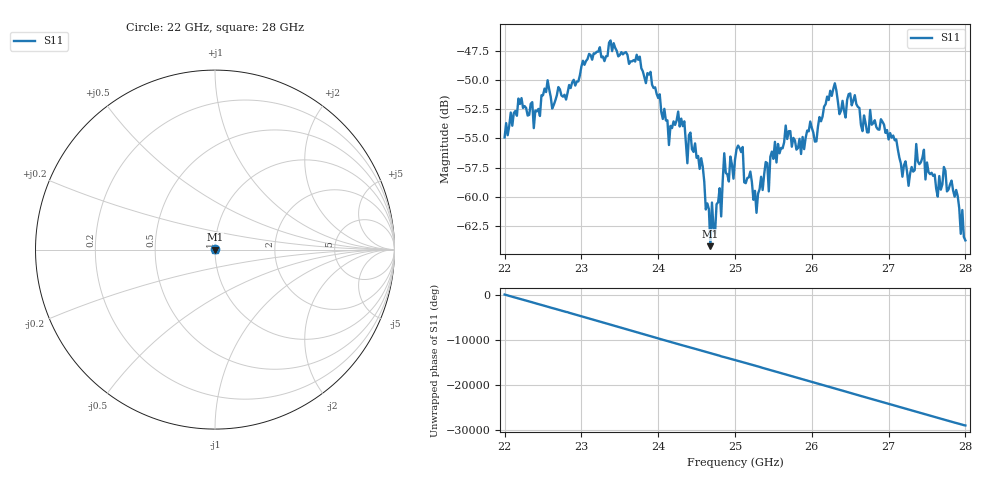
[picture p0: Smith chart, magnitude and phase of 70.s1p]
#  HZ  S  RI  R  50.00
! Rohde & Schwarz ZVA40 4Ports - Version 3.90 - 1145.1110k42 SN: 100403
! Date: 2023-10-04 07:45:16
! Measurement: S12
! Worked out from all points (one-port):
!   301 points, 22 GHz to 28 GHz, reference 50 ohm
!   lowest |S11| = -64.2 dB at 24.68 GHz (marker M1), VSWR 1.00, Z = 50.1 + j0.0292 ohm
!   |S11| at or under -10 dB: start of sweep to end of sweep
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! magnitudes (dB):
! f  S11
! 22 GHz  -54.9
! 22.18 GHz  -51.6
! 22.38 GHz  -54.1
! 22.56 GHz  -50.0
! 22.76 GHz  -51.4
! 23.5 GHz  -47.8
! 23.9 GHz  -49.3
! 24.14 GHz  -55.6
! 24.26 GHz  -52.7
! 24.38 GHz  -57.1
! 24.42 GHz  -54.5
! 24.56 GHz  -56.7
! 24.68 GHz  -64.2
! 24.7 GHz  -60.5
! 24.82 GHz  -61.7
! 24.86 GHz  -56.3
! 25 GHz  -56.8
! 25.1 GHz  -55.7
! 25.12 GHz  -58.8
! 25.28 GHz  -61.4
! 25.52 GHz  -55.3
! 25.76 GHz  -54.9
! 26.5 GHz  -51.1
! 27.26 GHz  -59.1
! 27.36 GHz  -55.5
! 27.64 GHz  -60.0
! 27.72 GHz  -57.4
! 28 GHz  -63.7
